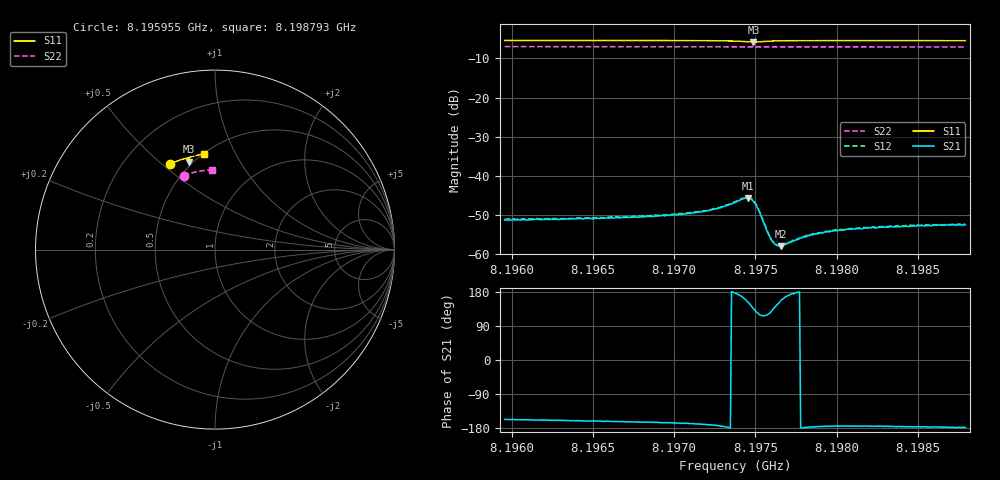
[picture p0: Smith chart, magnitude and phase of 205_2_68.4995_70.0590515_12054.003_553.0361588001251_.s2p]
#  HZ  S  RI  R  50.00
! Rohde & Schwarz Vector Network Analyzer
! Rohde-Schwarz,ZNB20-2Port,1311601062101988,3.16
! Created: UTC 3/20/2024, 5:12:55 PM
! freq[Hz]  re:S11  im:S11  re:S21  im:S21  re:S12  im:S12  re:S22  im:S22
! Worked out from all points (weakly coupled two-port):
!   401 points, 8.195955 GHz to 8.198793 GHz, reference 50 ohm
!   highest |S21| = -45.66 dB at 8.197453 GHz (marker M1); lowest = -58.0 dB at 8.197658 GHz (marker M2)
!   lowest |S11| = -5.8 dB at 8.197488 GHz (marker M3), VSWR 3.09, Z = 23.8 + j31.6 ohm
!   |S11| at or under -10 dB: nowhere
!   |S22| runs from -7.1 to -7.0 dB; largest |S21 - S12| = 0.00028
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8.1959555e9  -0.2505 0.475  -0.00251 -0.00108  -0.00262 -0.000992  -0.1746 0.4127
8.1964308e9  -0.2195 0.4896  -0.00267 -0.000922  -0.00275 -0.000873  -0.1494 0.4217
8.1969062e9  -0.187 0.5021  -0.00297 -0.000811  -0.00306 -0.000697  -0.1237 0.4289
8.1971829e9  -0.1657 0.5079  -0.00344 -0.000609  -0.00355 -0.000483  -0.1085 0.4327
8.1972751e9  -0.1573 0.509  -0.00387 -0.000434  -0.00394 -0.000284  -0.1034 0.4338
8.1973745e9  -0.1459 0.507  -0.00455 0.000255  -0.00468 0.00047  -0.0977 0.4347
8.1974241e9  -0.1402 0.5018  -0.0049 0.00133  -0.00494 0.00154  -0.095 0.435
8.1974525e9  -0.1396 0.4963  -0.00466 0.00233  -0.00467 0.00254  -0.0934 0.4352
8.1974738e9  -0.142 0.4921  -0.00405 0.003  -0.00403 0.00325  -0.0925 0.4353
8.197488e9  -0.1449 0.4904  -0.00335 0.00332  -0.00331 0.00354  -0.0915 0.4355
8.1975164e9  -0.1512 0.4916  -0.00205 0.00317  -0.00197 0.00335  -0.0903 0.4357
8.197566e9  -0.1549 0.5005  -0.001 0.00186  -0.000937 0.00199  -0.0877 0.4365
8.1975944e9  -0.1533 0.5048  -0.000922 0.00127  -0.000906 0.00132  -0.0861 0.437
8.1976228e9  -0.151 0.5079  -0.00103 0.000851  -0.00101 0.000878  -0.0845 0.4372
8.197637e9  -0.1497 0.5092  -0.00109 0.00069  -0.00105 0.00075  -0.0837 0.4374
8.1976583e9  -0.1476 0.5107  -0.00117 0.000474  -0.00115 0.000559  -0.0826 0.4375
8.197786e9  -0.1364 0.5164  -0.0016 -1.73e-05  -0.00166 2.75e-05  -0.0754 0.4387
8.1978498e9  -0.1312 0.5182  -0.00176 -0.000122  -0.0018 -3.96e-05  -0.0717 0.4389
8.1979775e9  -0.1213 0.5211  -0.00197 -0.000183  -0.00202 -0.00011  -0.0645 0.44
8.1980698e9  -0.1144 0.5226  -0.00207 -0.000205  -0.00209 -0.000121  -0.0592 0.4406
8.1983252e9  -0.0957 0.5262  -0.00223 -0.00017  -0.00226 -0.000135  -0.0448 0.4418
8.1987935e9  -0.0623 0.5308  -0.00236 -7.55e-05  -0.0024 3.69e-05  -0.0182 0.4429
